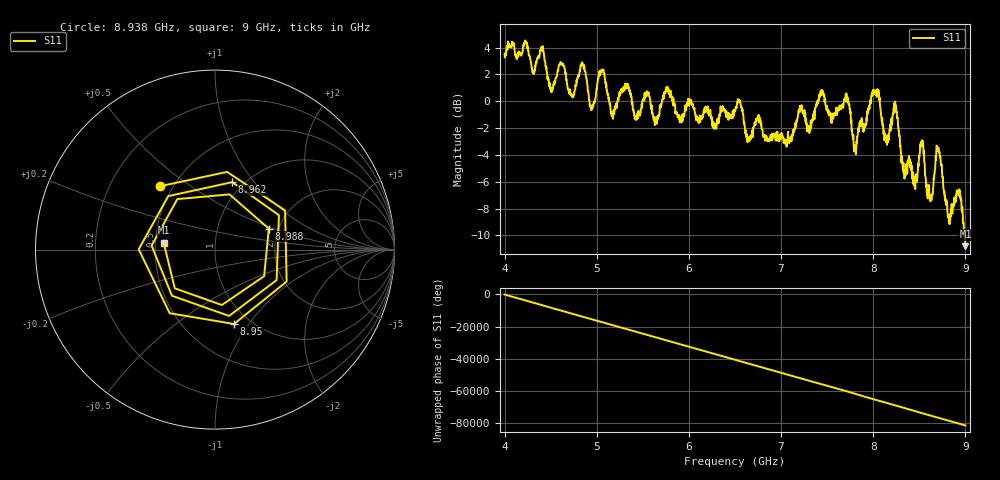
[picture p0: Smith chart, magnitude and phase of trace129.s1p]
! Created with skrf 1.8.0 (http://scikit-rf.org).
# Hz S RI R 50.0
!freq ReS11 ImS11
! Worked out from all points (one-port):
!   1601 points, 4 GHz to 9 GHz, reference 50 ohm
!   lowest |S11| = -10.8 dB at 9 GHz (marker M1), VSWR 1.81, Z = 27.7 + j2.33 ohm
!   |S11| at or under -10 dB: 8.989579 GHz to end of sweep
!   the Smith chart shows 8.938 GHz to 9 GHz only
!   S11 on the Smith chart (normalised r, x): 8.938 GHz: 0.43, +0.39; 8.95 GHz: 0.84, -0.85; 8.962 GHz: 0.89, +0.78; 8.988 GHz: 1.78, +0.46; 9 GHz: 0.55, +0.05
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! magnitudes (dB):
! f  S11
! 4 GHz  3.5
! 4.509 GHz  0.7
! 4.625 GHz  2.7
! 4.728 GHz  0.4
! 4.85 GHz  2.7
! 4.944 GHz  -0.6
! 5.047 GHz  2.2
! 5.166 GHz  -1.0
! 5.25 GHz  0.4
! 5.875 GHz  -1.0
! 6.5 GHz  -0.7
! 7.125 GHz  -2.4
! 7.441 GHz  0.7
! 7.75 GHz  -0.9
! 7.806 GHz  -3.4
! 8.038 GHz  0.3
! 8.141 GHz  -3.1
! 8.241 GHz  -0.4
! 8.375 GHz  -4.5
! 8.528 GHz  -2.9
! 8.622 GHz  -7.4
! 8.703 GHz  -3.5
! 8.812 GHz  -8.5
! 8.938 GHz  -6.6
! 8.95 GHz  -7.4
! 8.962 GHz  -8.2
! 8.988 GHz  -9.8
! 9 GHz  -10.8
